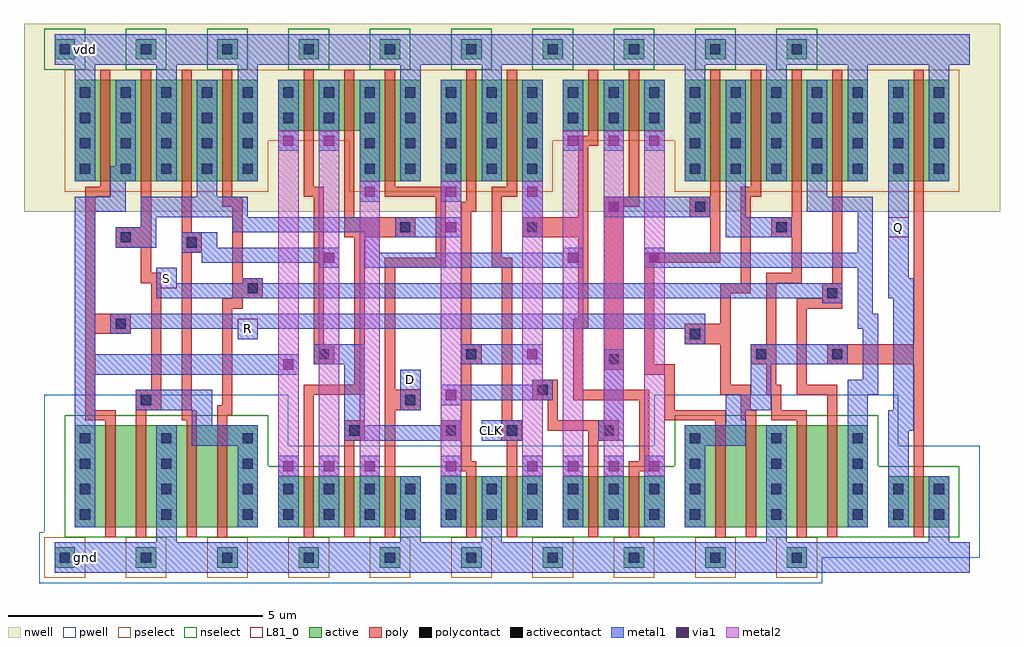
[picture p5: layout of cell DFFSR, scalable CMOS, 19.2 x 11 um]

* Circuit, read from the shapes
.subckt DFFSR CLK D Q R S gnd vdd
M1 n1 R n2 gnd nfet w=2u l=0.2u
M2 gnd n3 n1 gnd nfet w=2u l=0.2u
M3 n4 n5 gnd gnd nfet w=2u l=0.2u
M4 n3 S n4 gnd nfet w=2u l=0.2u
M5 n5 n6 n2 gnd nfet w=1u l=0.2u
M6 n7 n8 n5 gnd nfet w=1u l=0.2u
M7 gnd D n7 gnd nfet w=1u l=0.2u
M8 gnd n8 n6 gnd nfet w=1u l=0.2u
M9 n8 CLK gnd gnd nfet w=1u l=0.2u
M10 n9 n6 n3 gnd nfet w=1u l=0.2u
M11 n10 n8 n9 gnd nfet w=1u l=0.2u
M12 n11 n9 n12 gnd nfet w=2u l=0.2u
M13 gnd R n11 gnd nfet w=2u l=0.2u
M14 n13 n12 gnd gnd nfet w=2u l=0.2u
M15 n10 S n13 gnd nfet w=2u l=0.2u
M16 gnd n12 Q gnd nfet w=1u l=0.2u
M17 n2 R vdd vdd pfet w=2u l=0.2u
M18 vdd n3 n2 vdd pfet w=2u l=0.2u
M19 n3 n5 vdd vdd pfet w=2u l=0.2u
M20 vdd S n3 vdd pfet w=2u l=0.2u
M21 n5 n8 n2 vdd pfet w=1u l=0.2u
M22 n7 n6 n5 vdd pfet w=1u l=0.2u
M23 vdd D n7 vdd pfet w=2u l=0.2u
M24 vdd n8 n6 vdd pfet w=2u l=0.2u
M25 n8 CLK vdd vdd pfet w=2u l=0.2u
M26 n9 n8 n3 vdd pfet w=1u l=0.2u
M27 n10 n6 n9 vdd pfet w=1u l=0.2u
M28 n12 n9 vdd vdd pfet w=2u l=0.2u
M29 vdd R n12 vdd pfet w=2u l=0.2u
M30 n10 n12 vdd vdd pfet w=2u l=0.2u
M31 vdd S n10 vdd pfet w=2u l=0.2u
M32 vdd n12 Q vdd pfet w=2u l=0.2u
.ends

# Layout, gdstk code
import gdstk
lib = gdstk.Library(unit=1e-6, precision=1e-09)
def R(c, l, rs):  # rectangles x0, y0, x1, y1
    for r in rs: c.add(gdstk.rectangle(r[:2], r[2:], *l))
def A(c, l, x, y, w, h, nx, ny, dx, dy):  # array of equal rectangles
    R(c, l, [(x+i*dx, y+j*dy, x+i*dx+w, y+j*dy+h) for i in range(nx) for j in range(ny)])
pwell = (41, 0)
nwell = (42, 0)
active = (43, 0)
pselect = (44, 0)
nselect = (45, 0)
poly = (46, 0)
polycontact = (47, 0)
activecontact = (48, 0)
metal1 = (49, 0)
via1 = (50, 0)
metal2 = (51, 0)
L81_0 = (81, 0)

dffsr = lib.new_cell('DFFSR')
R(dffsr, pwell, [(-0.5,-0.5,14.9,0), (-0.5,0,18,0.5), (-0.4,0.5,18,2.2), (-0.4,2.2,4.4,3.2), (11.6,2.2,16.4,3.2)])
R(dffsr, nwell, [(-0.8,6.8,18.4,10.5)])
A(dffsr, active, -0.2, -0.2, 0.4, 0.4, 10, 2, 1.6, 10)
R(dffsr, active, [(0.2,0.6,3.8,2.6), (4.2,0.6,7,1.6), (7.4,0.6,9.4,1.6), (9.8,0.6,11.8,1.6), (12.2,0.6,15.8,2.6), (16.2,0.6,17.4,1.6), (0.2,7.4,3.8,9.4), (5.8,7.4,7,8.4), (7.4,7.4,9.4,9.4), (12.2,7.4,15.8,9.4), (16.2,7.4,17.4,9.4), (4.2,8.4,7,9.4), (9.8,8.4,11.8,9.4)])
A(dffsr, pselect, -0.4, -0.4, 0.8, 0.8, 10, 1, 1.6, 0)
R(dffsr, pselect, [(0,7.2,4,8.2), (5.6,7.2,9.6,8.2), (12,7.2,17.6,8.2), (0,8.2,17.6,9.6)])
A(dffsr, nselect, -0.4, 9.6, 0.8, 0.8, 10, 1, 1.6, 0)
R(dffsr, nselect, [(0,0.4,17.6,1.8), (0,1.8,4,2.8), (12,1.8,16,2.8)])
R(dffsr, poly, [(0.8,0.4,1,2.7), (1.4,0.4,1.6,2.9), (2.4,0.4,2.6,2.7), (3,0.4,3.2,2.8), (4.7,0.4,4.9,3.2), (5.5,0.4,5.7,2.3), (6.3,0.4,6.5,2.9), (7.9,0.4,8.1,1.7), (8.7,0.4,8.9,2.3), (10.3,0.4,10.5,2.3), (11.1,0.4,11.3,1.7), (12.8,0.4,13,2.7), (13.4,0.4,13.6,2.7), (14.4,0.4,14.6,2.7), (15,0.4,15.2,3.2), (16.7,0.4,16.9,3.8), (7.8,1.7,8.1,1.9), (11.1,1.7,11.5,1.9), (7.8,1.9,8,2.3), (11.3,1.9,11.5,3.1), (5.5,2.3,5.9,2.7), (7.4,2.3,8,2.7), (8.6,2.3,9,2.7), (10.3,2.3,10.9,2.5), (9.5,2.5,10.9,2.7), (0.4,2.7,1,2.9), (2.3,2.7,2.6,2.9), (7.8,2.7,8,3.8), (8.6,2.7,8.8,5.7), (9.5,2.7,9.7,3.1), (11.8,2.7,13,2.9), (13.3,2.7,13.6,2.9), (13.9,2.7,14.6,2.9), (3,2.8,3.3,3), (0.4,2.9,0.6,4.4), (1.4,2.9,1.9,3.3), (2.3,2.9,2.5,6), (6.3,2.9,7,3.3), (11.8,2.9,12,3.6), (13.3,2.9,13.5,3.2), (13.9,2.9,14.1,3.2), (3.1,3,3.3,4.9), (9.2,3.1,9.7,3.5), (10,3.1,11.5,3.3), (4.7,3.2,5.9,3.4), (12.9,3.2,13.5,3.4), (13.8,3.2,14.1,3.4), (14.4,3.2,15.2,3.4), (1.7,3.3,1.9,5.4), (6.3,3.3,6.5,5.7), (10,3.3,10.2,4.5), (5.7,3.4,5.9,6.3), (12.9,3.4,13.1,4.2), (13.8,3.4,14,3.8), (14.4,3.4,14.6,4.9), (11.4,3.6,12,3.8), (10.6,3.7,11,6.9), (4.9,3.8,5.3,4.2), (7.8,3.8,8.2,4.2), (11.4,3.8,11.6,5.8), (13.5,3.8,14,4.2), (15,3.8,16.9,4.2), (4.9,4.2,5.1,7.1), (7.8,4.2,8,6.8), (12.2,4.2,13.1,4.6), (13.8,4.2,14,5.4), (16.7,4.2,16.9,9.6), (0.4,4.4,1.3,4.8), (10,4.5,10.3,4.7), (12.9,4.6,13.1,5.2), (10.1,4.7,10.3,6.3), (0.4,4.8,0.6,7.1), (3.1,4.9,3.5,5.1), (14.4,4.9,15.3,5.1), (3.3,5.1,3.9,5.5), (14.9,5.1,15.3,5.4), (12.9,5.2,13.5,5.4), (1.5,5.4,1.9,5.6), (13.3,5.4,13.5,7.1), (13.8,5.4,14.5,5.6), (15.1,5.4,15.3,9.6), (3.3,5.5,3.5,6.9), (1.5,5.6,1.7,6.1), (14.3,5.6,14.5,6.3), (6.3,5.7,7.5,5.9), (8.4,5.7,8.8,5.9), (11.4,5.8,12.9,6), (7.3,5.9,7.5,7.1), (8.4,5.9,8.6,7.1), (2.3,6,2.7,6.4), (12.7,6,12.9,6.7), (1,6.1,1.7,6.5), (5.5,6.3,6.9,6.7), (9,6.3,10.3,6.7), (13.9,6.3,14.5,6.7), (2.3,6.4,2.5,9.6), (1.5,6.5,1.7,9.6), (5.5,6.7,5.7,9.6), (10.1,6.7,10.3,8.1), (12.3,6.7,12.9,7.1), (14.3,6.7,14.5,9.6), (7.8,6.8,8.1,7), (3.1,6.9,3.5,7.1), (10.6,6.9,11.3,7.1), (7.9,7,8.1,9.6), (0.4,7.1,0.9,7.3), (3.1,7.1,3.3,9.6), (4.7,7.1,5.1,7.3), (6.3,7.1,7.5,7.3), (8.4,7.1,8.9,7.3), (11.1,7.1,11.3,9.6), (12.7,7.1,12.9,9.6), (13.3,7.1,13.7,7.3), (0.7,7.3,0.9,9.6), (4.7,7.3,4.9,9.6), (6.3,7.3,6.5,9.6), (8.7,7.3,8.9,9.6), (13.5,7.3,13.7,9.6), (10.1,8.1,10.5,8.3), (10.3,8.3,10.5,9.6)])
R(dffsr, polycontact, [(5.6,2.4,5.8,2.6), (7.5,2.4,7.7,2.6), (8.7,2.4,8.9,2.6), (10.6,2.4,10.8,2.6), (1.5,3,1.7,3.2), (6.7,3,6.9,3.2), (9.3,3.2,9.5,3.4), (10.7,3.8,10.9,4), (5,3.9,5.2,4.1), (7.9,3.9,8.1,4.1), (13.6,3.9,13.8,4.1), (15.1,3.9,15.3,4.1), (12.3,4.3,12.5,4.5), (1,4.5,1.2,4.7), (15,5.1,15.2,5.3), (3.6,5.2,3.8,5.4), (2.4,6.1,2.6,6.3), (1.1,6.2,1.3,6.4), (6.6,6.4,6.8,6.6), (9.1,6.4,9.3,6.6), (14,6.4,14.2,6.6), (12.4,6.8,12.6,7)])
A(dffsr, activecontact, -0.1, -0.1, 0.2, 0.2, 10, 2, 1.6, 10)
A(dffsr, activecontact, 0.3, 0.75, 0.2, 0.2, 3, 4, 1.6, 0.5)
A(dffsr, activecontact, 4.3, 0.75, 0.2, 0.2, 11, 2, 0.8, 0.5)
A(dffsr, activecontact, 15.5, 0.75, 0.2, 0.2, 3, 2, 0.8, 0.5)
A(dffsr, activecontact, 12.3, 1.75, 0.2, 0.2, 3, 2, 1.6, 0.5)
A(dffsr, activecontact, 0.3, 7.55, 0.2, 0.2, 5, 2, 0.8, 0.5)
A(dffsr, activecontact, 5.9, 7.55, 0.2, 0.2, 5, 2, 0.8, 0.5)
A(dffsr, activecontact, 12.3, 7.55, 0.2, 0.2, 7, 2, 0.8, 0.5)
A(dffsr, activecontact, 0.3, 8.55, 0.2, 0.2, 22, 2, 0.8, 0.5)
R(dffsr, activecontact, [(13.9,0.75,14.1,0.95), (13.9,1.25,14.1,1.45)])
A(dffsr, metal1, 4.2, 0.6, 0.4, 1.4, 3, 1, 0.8, 0)
A(dffsr, metal1, 9, 0.6, 0.4, 1.4, 4, 1, 0.8, 0)
A(dffsr, metal1, 0.2, 7.4, 0.4, 2.3, 3, 1, 1.6, 0)
A(dffsr, metal1, 12.2, 7.4, 0.4, 2.3, 4, 1, 1.6, 0)
A(dffsr, metal1, 9.8, 8, 0.4, 1.4, 3, 1, 0.8, 0)
R(dffsr, metal1, [(-0.2,-0.3,17.8,0.3), (1.8,0.3,2.2,2.6), (6.6,0.3,7,1.6), (8.2,0.3,8.6,1.6), (13.8,0.3,14.2,2.6), (17,0.3,17.4,1.6), (0.2,0.6,0.6,3.6), (3.4,0.6,3.8,2.2), (7.4,0.6,7.8,2), (12.2,0.6,12.6,2.2), (15.4,0.6,15.8,3.2), (16.2,0.6,16.6,2.5), (2.5,2.2,3.8,2.6), (12.2,2.2,13.4,2.6), (5.5,2.3,7.8,2.6), (8.2,2.3,9,2.7), (10.5,2.3,11,2.7), (16.2,2.5,16.7,2.9), (2.5,2.6,2.9,2.9), (5.5,2.6,5.9,3.8), (7.4,2.6,7.8,2.7), (13,2.6,13.4,2.9), (10.6,2.7,11,4.1), (1.4,2.9,2.9,3.3), (6.6,2.9,7,3.7), (13,2.9,13.9,3.2), (16.3,2.9,16.7,5.1), (7.4,3,7.8,3.1), (7.4,3.1,9.6,3.4), (13.5,3.2,13.9,3.8), (15.4,3.2,16,3.5), (9.2,3.4,9.6,3.5), (15.7,3.5,16,4.5), (0.2,3.6,4.6,4), (4.9,3.8,5.9,4.2), (7.8,3.8,9.4,4.2), (13.5,3.8,15.4,4.2), (0.2,4,0.6,6.8), (12.2,4.2,12.6,4.5), (3.4,4.3,3.8,4.5), (0.9,4.4,1.3,4.5), (0.9,4.5,12.6,4.8), (15.6,4.5,16,4.8), (15.6,4.8,15.9,5.7), (14.9,5,15.3,5.1), (1.8,5.1,15.3,5.4), (16.2,5.1,16.7,5.5), (1.8,5.4,2.2,5.7), (3.5,5.4,3.9,5.5), (16.2,5.5,16.6,9.4), (5,5.7,5.4,5.8), (5.9,5.7,10.2,6), (11.4,5.7,15.9,6), (2.7,5.8,5.4,6), (2.3,6,5.4,6.1), (5.9,6,6.2,6.4), (9.8,6,10.2,6.1), (11.4,6,11.8,6.1), (15.6,6,15.9,6.8), (1,6.1,1.8,6.5), (2.3,6.1,3,6.4), (6.5,6.3,7.8,6.7), (9,6.3,9.4,9.4), (13,6.3,14.3,6.7), (3.3,6.4,6.2,6.7), (1.5,6.5,1.8,6.7), (1.5,6.7,3.6,7.1), (10.6,6.7,12.7,7.1), (13,6.7,13.4,9.4), (0.2,6.8,1.2,7.1), (14.6,6.8,15.9,7.1), (5.8,7,6.2,9.4), (7.4,7,7.8,9.4), (0.9,7.1,1.2,7.4), (2.6,7.1,3,9.4), (14.6,7.1,15,9.4), (0.9,7.4,1.4,7.7), (6.6,7.4,7,9.7), (8.2,7.4,8.6,9.7), (1,7.7,1.4,9.4), (4.2,8,4.6,9.4), (5,8,5.4,9.4), (-0.2,9.7,17.8,10.3)])
A(dffsr, via1, 4.3, 1.7, 0.2, 0.2, 3, 1, 0.8, 0)
A(dffsr, via1, 9.1, 1.7, 0.2, 0.2, 4, 1, 0.8, 0)
A(dffsr, via1, 5.9, 7.1, 0.2, 0.2, 3, 1, 1.6, 0)
A(dffsr, via1, 9.9, 8.1, 0.2, 0.2, 3, 1, 0.8, 0)
R(dffsr, via1, [(7.5,1.7,7.7,1.9), (7.5,3.1,7.7,3.3), (4.3,3.7,4.5,3.9), (9.1,3.9,9.3,4.1), (5.1,5.8,5.3,6), (9.9,5.8,10.1,6), (11.5,5.8,11.7,6), (7.5,6.4,7.7,6.6), (10.7,6.8,10.9,7), (4.3,8.1,4.5,8.3), (5.1,8.1,5.3,8.3)])
A(dffsr, metal2, 5.8, 1.6, 0.4, 5.8, 3, 1, 1.6, 0)
A(dffsr, metal2, 9.8, 1.6, 0.4, 6.8, 3, 1, 0.8, 0)
R(dffsr, metal2, [(4.2,1.6,4.6,8.4), (5,1.6,5.4,8.4)])
R(dffsr, L81_0, [(8.2,2.3,8.6,2.7), (6.6,3.3,7,3.7), (3.4,4.3,3.8,4.7), (1.8,5.3,2.2,5.7), (16.2,6.3,16.6,6.7)])
dffsr.add(gdstk.Label('gnd', (0.4,0), layer=49, texttype=0))
dffsr.add(gdstk.Label('vdd', (0.4,10), layer=49, texttype=0))
dffsr.add(gdstk.Label('D', (6.8,3.5), layer=49, texttype=0))
dffsr.add(gdstk.Label('S', (2,5.5), layer=49, texttype=0))
dffsr.add(gdstk.Label('R', (3.6,4.5), layer=49, texttype=0))
dffsr.add(gdstk.Label('Q', (16.4,6.5), layer=49, texttype=0))
dffsr.add(gdstk.Label('CLK', (8.4,2.5), layer=49, texttype=0))

lib.write_gds('DFFSR.gds')
